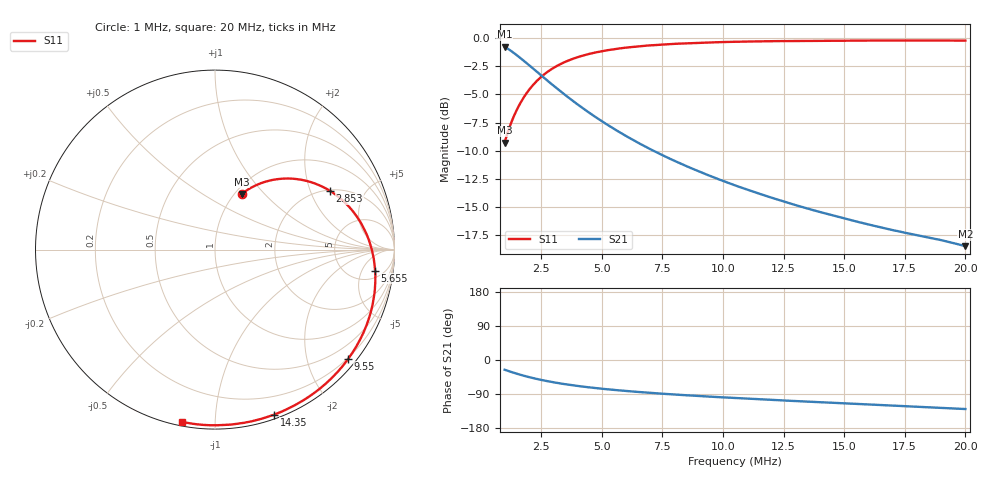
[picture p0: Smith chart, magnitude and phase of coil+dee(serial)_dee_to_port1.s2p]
# HZ S RI R 50
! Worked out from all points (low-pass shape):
!   401 points, 1 MHz to 20 MHz, reference 50 ohm
!   highest |S21| = -0.73 dB at 1 MHz (marker M1); lowest = -18.5 dB at 20 MHz (marker M2)
!   |S21| within 3 dB of the highest: start of sweep to 2.747 MHz
!   lowest |S11| = -9.3 dB at 1 MHz (marker M3), VSWR 2.05, Z = 53.7 + j37.7 ohm
!   |S11| at or under -10 dB: nowhere
!   S12 and S22 are empty: the file has one direction only
!   S11 on the Smith chart (normalised r, x): 1 MHz: 1.07, +0.75; 2.853 MHz: 2.04, +2.77; 5.655 MHz: 8, -9; 9.55 MHz: 0.18, -2.78; 14.35 MHz: 0.04, -1.42; 20 MHz: 0.02, -0.83
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1000000  0.1479 0.3099  0.8289 -0.3974  0 0  0 0
1095000  0.1737 0.3284  0.8014 -0.4216  0 0  0 0
1427500  0.2698 0.3747  0.7015 -0.4864  0 0  0 0
1855000  0.3953 0.3961  0.5771 -0.5311  0 0  0 0
2330000  0.5235 0.3791  0.4559 -0.5446  0 0  0 0
2852500  0.6411 0.327  0.3476 -0.5334  0 0  0 0
3517500  0.7525 0.2324  0.2441 -0.501  0 0  0 0
4182500  0.8262 0.1242  0.1695 -0.462  0 0  0 0
4895000  0.872 0.00581  0.1123 -0.4207  0 0  0 0
5655000  0.892 -0.1165  0.0687 -0.3806  0 0  0 0
6462500  0.8892 -0.2379  0.0355 -0.3431  0 0  0 0
7365000  0.8643 -0.3618  0.00887 -0.307  0 0  0 0
8505000  0.8089 -0.5003  -0.0145 -0.2691  0 0  0 0
9550000  0.7419 -0.6091  -0.0295 -0.2402  0 0  0 0
1.05e7  0.6707 -0.695  -0.0398 -0.2178  0 0  0 0
1.202e7  0.5433 -0.8056  -0.0516 -0.188  0 0  0 0
1.36825e7  0.3932 -0.8927  -0.0602 -0.1614  0 0  0 0
1.43475e7  0.3313 -0.9192  -0.0628 -0.1521  0 0  0 0
1.563e7  0.2104 -0.9553  -0.0669 -0.136  0 0  0 0
1.6865e7  0.0949 -0.9739  -0.07 -0.1223  0 0  0 0
1.84325e7  -0.0484 -0.9775  -0.0733 -0.1071  0 0  0 0
2e7  -0.1842 -0.9601  -0.0752 -0.0917  0 0  0 0
